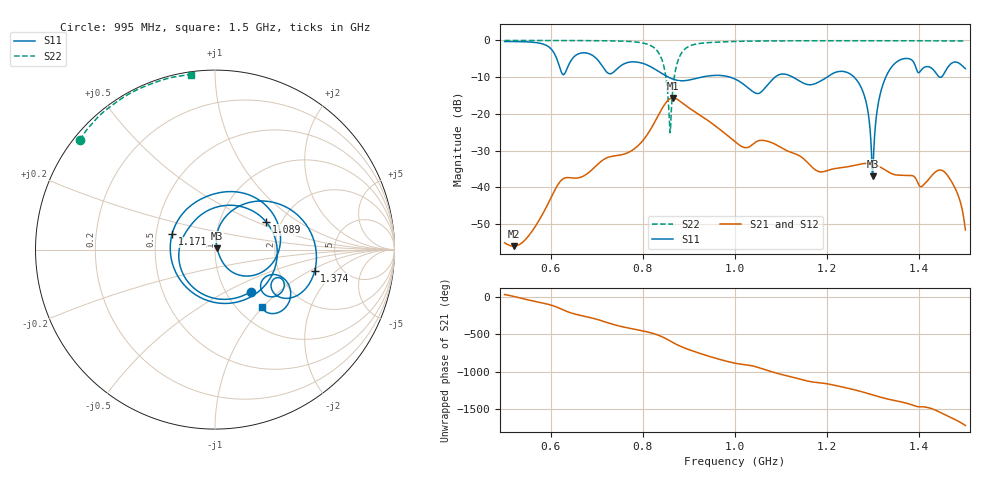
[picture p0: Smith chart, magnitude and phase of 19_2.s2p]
! TOUCHSTONE file generated by CST MICROWAVE STUDIO
! Date and time: Mon Nov 30 09:08:17 2020
! Project name: Scenario_1_Planar_Body_Tissue_Out_of_Line_v2.cst
! Parameters = {dy1=-34.6; L_HA=400; Ltissue=700; MT=2.54; Rad_Dielectric=30; Rad_Lower=7.3; Rad_Upper=30; Wtissue=700; a_HA=580; a_WG=246; b_HA=500; b_WG=121; c_HA=0; c_WG=187; d_feed=85; dx1=346; h_feed=15; h_lower=18; h_upper=40; hfat=3; hgap=25; hmuscle=50; hskin=1.5}
! Header version: 2018
! Port assignment regex: !\s*Touchstone port\s*([0-9]+)\s*=\s*(CST MWS port|CST DS port)\s*([0-9]+|Zmin|Zmax)\s*\(\"(.*)\"\)(\s*mode\s*([0-9]+))?.*
! Touchstone port assignment:
! Touchstone port 1 = CST MWS port 1 ("")
! Touchstone port 2 = CST MWS port 2 ("")
# GHz S DB R 50
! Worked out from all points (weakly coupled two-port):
!   1003 points, 500 MHz to 1.5 GHz, reference 50 ohm
!   highest |S21| = -15.66 dB at 865 MHz (marker M1); lowest = -56.0 dB at 520 MHz (marker M2)
!   lowest |S11| = -37.0 dB at 1.299 GHz (marker M3), VSWR 1.03, Z = 51.2 + j0.788 ohm
!   |S11| at or under -10 dB: 855.6 MHz to 927.3 MHz (71.75 MHz wide, 8.05 % of centre); 989.3 MHz to 1.087 GHz (97.5 MHz wide, 9.39 % of centre); 1.126 GHz to 1.2 GHz (73.91 MHz wide, 6.36 % of centre) (the widest 3 of 5)
!   |S22| runs from -25.1 to 0.0 dB; largest |S21 - S12| = 5.7e-06
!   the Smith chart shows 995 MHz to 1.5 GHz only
!   S11 on the Smith chart (normalised r, x): 995 MHz: 1.30, -0.67; 1.089 GHz: 1.67, +0.58; 1.171 GHz: 0.61, +0.11; 1.374 GHz: 3.21, -1.11; 1.5 GHz: 1.28, -0.99
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0.5  -0.29 -121.8  -55.10 35.8  -55.10 35.8  -0.01 151.2
0.52  -0.30 -130.3  -56.02 10.3  -56.02 10.3  -0.01 149.8
0.667  -3.41 156.8  -37.16 112.4  -37.16 112.4  -0.04 138.4
0.716  -7.72 26.1  -32.34 32.4  -32.34 32.4  -0.09 132.8
0.74  -8.24 -94.9  -31.42 -13.2  -31.42 -13.2  -0.14 129.3
0.769  -5.95 175.8  -30.47 -54.8  -30.47 -54.8  -0.27 123.4
0.834  -8.43 26.6  -20.30 -151.7  -20.30 -151.7  -3.32 85.5
0.865  -10.52 -62.9  -15.66 111.9  -15.66 111.9  -13.39 -131.9
0.934  -9.83 87.2  -21.17 -55.3  -21.17 -55.3  -0.67 152.6
0.995  -10.25 -49.7  -27.06 -159.9  -27.06 -159.9  -0.30 141.0
1  -10.51 -61.4  -27.57 -166.4  -27.57 -166.4  -0.27 140.3
1.04  -14.03 178.9  -28.14 154.2  -28.14 154.2  -0.18 135.4
1.089  -9.78 28.4  -28.38 61.7  -28.38 61.7  -0.12 130.7
1.128  -10.16 -74.1  -30.77 0.7  -30.77 0.7  -0.11 127.3
1.167  -12.02 172.9  -34.47 -57.6  -34.47 -57.6  -0.10 124.2
1.171  -11.90 160.4  -34.92 -61.2  -34.92 -61.2  -0.10 123.9
1.261  -10.31 -21.3  -33.97 -166.9  -33.97 -166.9  -0.08 117.0
1.299  -37.03 33.1  -33.67 126.4  -33.67 126.5  -0.08 114.2
1.334  -8.33 44.9  -35.88 67.8  -35.88 67.8  -0.09 111.5
1.374  -4.91 -11.9  -36.75 12.1  -36.75 12.1  -0.09 108.5
1.455  -8.74 -22.5  -35.86 -138.2  -35.86 -138.2  -0.11 101.9
1.5  -7.68 -50.9  -51.62 76.6  -51.62 76.6  -0.13 98.0
